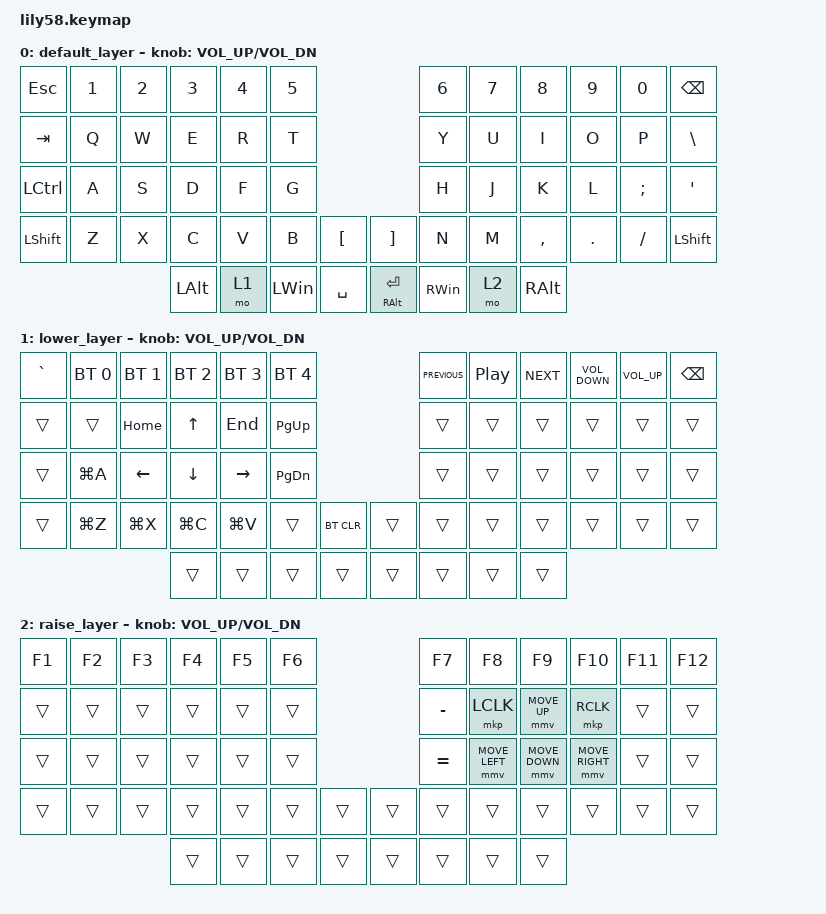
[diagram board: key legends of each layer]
/*
 * Copyright (c) 2020 The ZMK Contributors
 *
 * SPDX-License-Identifier: MIT
 */

#include <behaviors.dtsi>
#include <dt-bindings/zmk/bt.h>
#include <dt-bindings/zmk/keys.h>
#include <dt-bindings/zmk/pointing.h>

&mmv {
    time-to-max-speed-ms = <200>;
    acceleration-exponent = <2>;
};

&msc {
    acceleration-exponent = <0>;
    time-to-max-speed-ms = <0>;
};

/ {
    keymap {
        compatible = "zmk,keymap";

        default_layer {
            // ------------------------------------------------------------------------------------------------------------
            // |  ESC  |  1  |  2  |  3   |  4   |  5   |                   |  6   |  7    |  8    |  9   |   0   |  BSPC |
            // |  TAB  |  Q  |  W  |  E   |  R   |  T   |                   |  Y   |  U    |  I    |  O   |   P   |   \   |
            // | SHIFT |  A  |  S  |  D   |  F   |  G   |                   |  H   |  J    |  K    |  L   |   ;   |   '   |
            // | CTRL  |  Z  |  X  |  C   |  V   |  B   |   "["  |  |  "]"  |  N   |  M    |  ,    |  .   |   /   |  DEL  |
            //                     | GUI  | LOWER| ALT  |  SPACE |  | ENTER | RALT | SHIFT | RAISE |

            bindings = <
&kp ESC    &kp N1  &kp N2  &kp N3    &kp N4  &kp N5                                 &kp N6    &kp N7  &kp N8     &kp N9   &kp N0    &kp BSPC
&kp TAB    &kp Q   &kp W   &kp E     &kp R   &kp T                                  &kp Y     &kp U   &kp I      &kp O    &kp P     &kp BSLH
&kp LCTRL  &kp A   &kp S   &kp D     &kp F   &kp G                                  &kp H     &kp J   &kp K      &kp L    &kp SEMI  &kp SQT
&kp LSHFT  &kp Z   &kp X   &kp C     &kp V   &kp B     &kp LBKT     &kp RBKT        &kp N     &kp M   &kp COMMA  &kp DOT  &kp FSLH  &kp LSHFT
                           &kp LALT  &mo 1   &kp LWIN  &kp SPACE    &mt RALT ENTER  &kp RWIN  &mo 2   &kp RALT
            >;

            sensor-bindings = <&inc_dec_kp C_VOL_UP C_VOL_DN>;
        };

        lower_layer {
            // ------------------------------------------------------------------------------------------------------------
            // | GRAVE | BT0 | BT1 |  BT2 |  BT3 |  BT4 |                   |  ⏮️  |  ⏭️  |       |  🔉  |  🔊  |  ⏯️  |
            // |       |     |     |      |      |      |                   |      | HOME |  UP   | END  |       | PAGE_UP   |
            // |       |     |     |      |      |      |                   |      | LEFT | DOWN  | RIGHT|       | PAGE_DOWN |
            // |       |     |     |      |      |      | BT_CLR |  |       |      |      |       |      |       |           |
            //                     |      |      |      |        |  |       |      | APP  |       |

            bindings = <
&kp GRAVE  &bt BT_SEL 0  &bt BT_SEL 1  &bt BT_SEL 2  &bt BT_SEL 3  &bt BT_SEL 4                         &kp C_PREVIOUS  &kp C_PP  &kp C_NEXT  &kp C_VOLUME_DOWN  &kp C_VOLUME_UP  &kp BACKSPACE
&trans     &trans        &kp HOME      &kp UP_ARROW  &kp END       &kp PAGE_UP                          &trans          &trans    &trans      &trans             &trans           &trans
&trans     &kp LG(A)     &kp LEFT      &kp DOWN      &kp RIGHT     &kp PAGE_DOWN                        &trans          &trans    &trans      &trans             &trans           &trans
&trans     &kp LG(Z)     &kp LG(X)     &kp LG(C)     &kp LG(V)     &trans         &bt BT_CLR    &trans  &trans          &trans    &trans      &trans             &trans           &trans
                                       &trans        &trans        &trans         &trans        &trans  &trans          &trans    &trans
            >;

            sensor-bindings = <&inc_dec_kp C_VOL_UP C_VOL_DN>;
        };

        raise_layer {
            // ------------------------------------------------------------------------------------------------------------
            // |  F1  |  F2  |     F3      |     F4      |      F5       |      F6       |                   |  F7  |  F8   |  F9  |  F10 |  F11 |  F12 |
            // |      |      |  RCLK       | MOVE_UP     |  LCLK        | SCRL_UP       |                   |      |   -   |   =  |      |      |      |
            // |      |      | MOVE_LEFT   | MOVE_DOWN   | MOVE_RIGHT   | SCRL_DOWN     |                   |      |       |      |      |      |      |
            // |      |      |             |             | SCRL_LEFT    | SCRL_DOWN     | SCRL_RIGHT |  |   |      |       |      |      |      |      |
            //                             |             |              |               |            |  |   |      |       |      |

            bindings = <
&kp F1  &kp F2  &kp F3  &kp F4  &kp F5  &kp F6                    &kp F7     &kp F8          &kp F9          &kp F10          &kp F11  &kp F12
&trans  &trans  &trans  &trans  &trans  &trans                    &kp MINUS  &mkp LCLK       &mmv MOVE_UP    &mkp RCLK        &trans   &trans
&trans  &trans  &trans  &trans  &trans  &trans                    &kp EQUAL  &mmv MOVE_LEFT  &mmv MOVE_DOWN  &mmv MOVE_RIGHT  &trans   &trans
&trans  &trans  &trans  &trans  &trans  &trans  &trans    &trans  &trans     &trans          &trans          &trans           &trans   &trans
                        &trans  &trans  &trans  &trans    &trans  &trans     &trans          &trans
            >;

            sensor-bindings = <&inc_dec_kp C_VOL_UP C_VOL_DN>;
        };
    };
};
